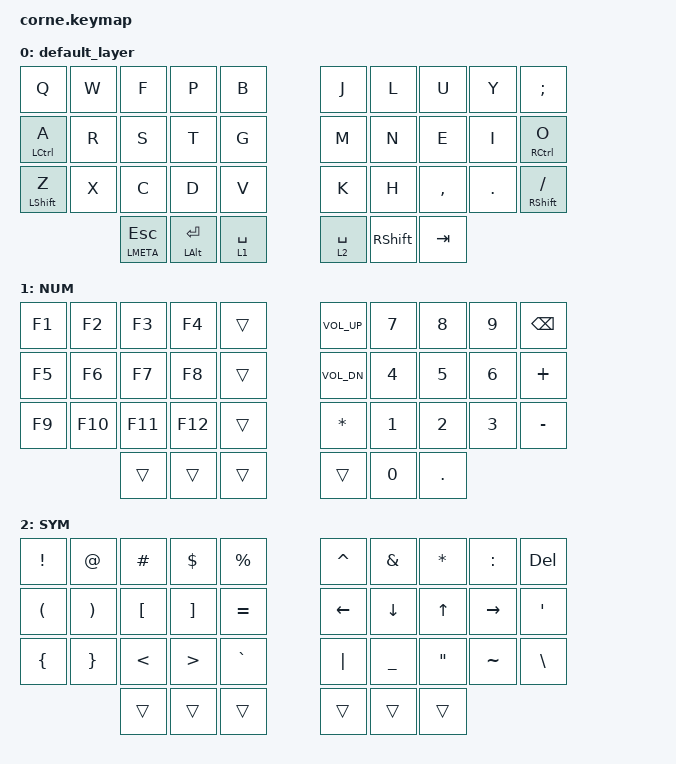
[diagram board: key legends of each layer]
/*
 * Copyright (c) 2020 The ZMK Contributors
 *
 * SPDX-License-Identifier: MIT
 */

#include <behaviors.dtsi>
#include <dt-bindings/zmk/keys.h>
#include <dt-bindings/zmk/bt.h>

/ {
        combos {
                compatible = "zmk,combos";
                combo_esc {
                  timeout-ms = <50>;
                  key-positions = <1 2>;
                  bindings = <&kp ESC>;
                };
                compatible = "zmk,combos";
                combo_bspc {
                  timeout-ms = <50>;
                  key-positions = <11 12>;
                  bindings = <&kp BSPC>;
                };
                combo_ent {
                  timeout-ms = <50>;
                  key-positions = <21 22>;
                  bindings = <&kp RET>;
                };
                combo_quo {
                  timeout-ms = <50>;
                  key-positions = <16 17>;
                  bindings = <&kp SQT>;
                };
                combo_cln {
                  timeout-ms = <50>;
                  key-positions = <17 18>;
                  bindings = <&kp COLON>;
                };
                combo_mns {
                  timeout-ms = <50>;
                  key-positions = <18 19>;
                  bindings = <&kp MINUS>;
                };
        };

        keymap {
                compatible = "zmk,keymap";

                default_layer {
// -----------------------------------------------------------------------------------------
// | xxxx |  Q   |  W  |  F  |  P  |  B  |   |  J  |  L   |  U  |  Y  |  ;   | xxxx |
// | xxxx |CTRL/A|  R  |  S  |  T  |  G  |   |  M  |  N   |  E  |  I  |CTRL/O| xxxx |
// | xxxx |SHFT/Z|  X  |  C  |  D  |  V  |   |  K  |  H   |  ,  |  .  |SHFT//| xxxx |
//             |ESC/META|ENT/ALT|SPC(SYM)|   |SPC(NUM)|SHFT|SHFT/TAB|
                        bindings = <
   &kp Q &kp W &kp F &kp P &kp B &kp J   &kp L &kp U &kp Y &kp SEMI
   &mt LCTRL A &kp R &kp S &kp T &kp G   &kp M &kp N &kp E &kp I &mt RCTRL O
   &mt LSHFT Z &kp X &kp C &kp D &kp V   &kp K &kp H &kp COMMA &kp DOT &mt RSHFT SLASH
     &mt LMETA ESC &mt LALT RET &lt 1 SPACE   &lt 2 SPACE &kp RSHFT &kp TAB
                        >;
                };
                num_layer { // layer 1
                  display-name = "NUM";
// -----------------------------------------------------------------------------------------
// | xxxx | F1  |  F2  |  F3  |  F4  |    |   |VOLUP|  7  |  8  |  9  | BKSP| xxxx |
// | xxxx | F5  |  F6  |  F7  |  F8  |    |   |VOLDN|  4  |  5  |  6  |  +  | xxxx |
// | xxxx | F9  |  F10 |  F11 |  F12 |    |   |  *  |  1  |  2  |  3  |  -  | xxxx |
//                     |      |      |    |   |     |  0  |  .  |
                        bindings = <
   &kp F1 &kp F2  &kp F3  &kp F4  &trans  &kp C_VOL_UP &kp N7 &kp N8 &kp N9 &kp BSPC
   &kp F5 &kp F6  &kp F7  &kp F8  &trans  &kp C_VOL_DN &kp N4 &kp N5 &kp N6 &kp PLUS
   &kp F9 &kp F10 &kp F11 &kp F12 &trans  &kp ASTRK    &kp N1 &kp N2 &kp N3 &kp MINUS
                    &trans &trans &trans  &trans       &kp N0 &kp DOT
                        >;
                };

                sym_layer { // layer 2
                  display-name = "SYM";
// -----------------------------------------------------------------------------------------
// | xxxx |  !  |  @  |  #  |  $  |  %  |   |  ^   |  &   |  * |   :   | DEL | xxxx |
// | xxxx |  (  |  )  |  [  |  ]  |  =  |   | LEFT | DOWN | UP | RIGHT |  '  | xxxx |
// | xxxx |  {  |  }  |  <  |  >  |  `  |   |  |   |  _   | "  |   ~   |  \  | xxxx |
//                    |     |     |     |   |     |     |     |
                        bindings = <
   &kp EXCL &kp AT &kp HASH &kp DLLR &kp PRCNT   &kp CARET &kp AMPS  &kp ASTRK &kp COLON &kp DEL
   &kp LPAR &kp RPAR &kp LBKT &kp RBKT &kp EQUAL &kp LEFT &kp DOWN &kp UP &kp RIGHT &kp SQT
   &kp LBRC &kp RBRC &kp LT &kp GT &kp GRAVE     &kp PIPE &kp UNDER &kp DQT &kp TILDE &kp BSLH
                      &trans &trans &trans        &trans   &trans    &trans
                        >;
                };
        };
};
